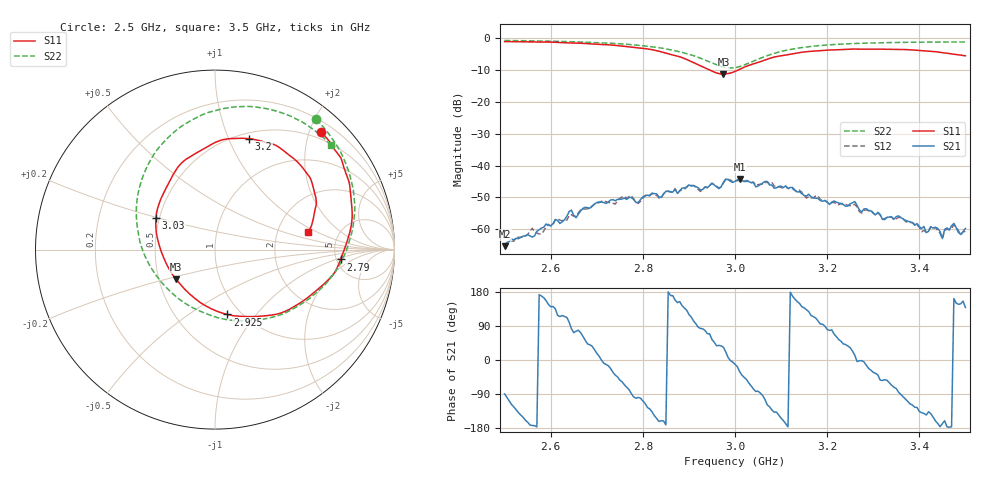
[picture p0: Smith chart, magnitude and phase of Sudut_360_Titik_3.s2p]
# Hz S RI R 50
! CMT, C1220, 16058040, 17.2.0/1
! Date: 15/08/2018 10:45:46
! Data: Format (Calibration Info)
! Freq  S11: Re/Im (F2)  S21: Re/Im (F2)  S12: Re/Im (F2)  S22: Re/Im (F2)
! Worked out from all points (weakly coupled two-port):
!   201 points, 2.5 GHz to 3.5 GHz, reference 50 ohm
!   highest |S21| = -44.17 dB at 3.01 GHz (marker M1); lowest = -65.3 dB at 2.5 GHz (marker M2)
!   lowest |S11| = -11.3 dB at 2.975 GHz (marker M3), VSWR 1.75, Z = 30.7 - j10.9 ohm
!   |S11| at or under -10 dB: 2.945 GHz to 3.007 GHz (61.92 MHz wide, 2.08 % of centre)
!   |S22| runs from -9.4 to -0.7 dB; largest |S21 - S12| = 0.0005
!   S11 on the Smith chart (normalised r, x): 2.5 GHz: 0.37, +2.20; 2.79 GHz: 5.44, -1.18; 2.925 GHz: 0.87, -0.72; 3.03 GHz: 0.48, +0.20; 3.2 GHz: 0.56, +1.19; 3.5 GHz: 2.99, +0.80
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2.5e9  0.5927 0.6536  4.28e-06 -0.000545  1.93e-05 -0.000573  0.5635 0.7255
2.67e9  0.7522 0.3437  0.000986 0.00189  0.00109 0.00177  0.7379 0.4544
2.76e9  0.7409 0.0608  0.00128 -0.00281  0.00139 -0.00299  0.778 0.2108
2.79e9  0.6996 -0.0549  -0.000406 -0.00261  -0.000498 -0.0025  0.7647 0.1063
2.835e9  0.5863 -0.2099  -0.00307 -0.000991  -0.00292 -0.00103  0.7037 -0.0677
2.9e9  0.2456 -0.3716  -0.00251 0.00431  -0.0027 0.00422  0.4573 -0.3178
2.925e9  0.068 -0.3611  0.000495 0.00411  0.0003 0.00392  0.2976 -0.3816
2.975e9  -0.2169 -0.1647  0.0046 0.00305  0.00441 0.00302  -0.0958 -0.3374
3e9  -0.2997 -0.0105  0.00555 -0.00111  0.00554 -0.00135  -0.2704 -0.2124
3.01e9  -0.3188 0.0546  0.00533 -0.00314  0.00514 -0.00288  -0.3269 -0.145
3.03e9  -0.329 0.1757  0.00276 -0.00491  0.00282 -0.00502  -0.4061 0.00475
3.105e9  -0.1403 0.5164  -0.00427 -0.00157  -0.00418 -0.00149  -0.3412 0.5294
3.17e9  0.0885 0.6185  -0.00129 0.00284  -0.00154 0.00273  -0.0907 0.7419
3.2e9  0.188 0.6184  0.000423 0.00264  0.000552 0.00264  0.0198 0.779
3.26e9  0.3491 0.5751  0.00267 0.000587  0.0024 0.000572  0.2098 0.7962
3.335e9  0.4904 0.4532  0.000776 -0.00135  0.00068 -0.00141  0.3921 0.7553
3.415e9  0.5627 0.2852  -0.000727 -0.000509  -0.000757 -0.000501  0.5338 0.6792
3.435e9  0.5622 0.2417  -0.00102 -0.000358  -0.00102 -0.000305  0.563 0.6576
3.45e9  0.5548 0.2082  -0.000703 -0.000148  -0.000687 -0.000189  0.5848 0.6407
3.475e9  0.5411 0.1443  -0.00118 0.00038  -0.00114 0.000261  0.6155 0.6134
3.49e9  0.5284 0.1145  -0.000708 0.000437  -0.00066 0.000487  0.6333 0.5951
3.5e9  0.5185 0.0965  -0.000777 0.000684  -0.000686 0.000637  0.6446 0.584
